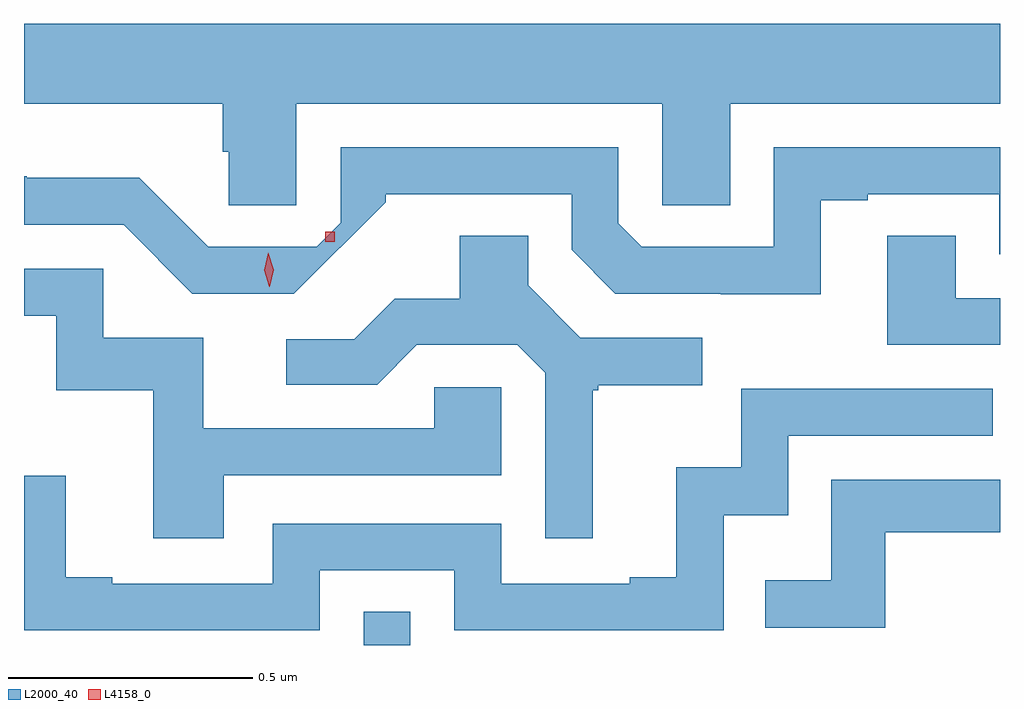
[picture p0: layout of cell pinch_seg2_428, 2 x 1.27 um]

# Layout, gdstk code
import gdstk
lib = gdstk.Library(unit=1e-6, precision=1e-09)
def R(c, l, rs):  # rectangles x0, y0, x1, y1
    for r in rs: c.add(gdstk.rectangle(r[:2], r[2:], *l))
def P(c, l, *ps):  # polygons
    for p in ps: c.add(gdstk.Polygon(p, *l))
L2000_40 = (2000, 40)
L4158_0 = (4158, 0)

pinch_seg2_428 = lib.new_cell('pinch_seg2_428')
R(pinch_seg2_428, L2000_40, [(1002,619.887,1002.096,619.955)])
P(pinch_seg2_428, L2000_40, [(1001.862,620.996),(1002.612,620.996),(1002.612,620.788),(1002.751,620.788),(1002.751,620.996),(1003.304,620.996),(1003.304,621.16),(1001.304,621.16),(1001.304,620.996),(1001.711,620.996),(1001.711,620.898),(1001.724,620.898),(1001.724,620.788),(1001.862,620.788)],
  [(1002.937,620.799),(1003.033,620.799),(1003.033,620.811),(1003.302,620.811),(1003.302,620.688),(1003.304,620.688),(1003.304,620.907),(1002.84,620.907),(1002.84,620.703),(1002.57,620.703),(1002.522,620.751),(1002.522,620.907),(1001.953,620.907),(1001.953,620.752),(1001.904,620.703),(1001.682,620.703),(1001.54,620.845),(1001.31,620.845),(1001.31,620.848),(1001.304,620.848),(1001.304,620.748),(1001.508,620.748),(1001.649,620.607),(1001.857,620.607),(1002.045,620.795),(1002.045,620.811),(1002.426,620.811),(1002.426,620.697),(1002.516,620.607),(1002.732,620.607),(1002.732,620.606),(1002.937,620.606)],
  [(1002.469,620.409),(1002.481,620.409),(1002.481,620.42),(1002.694,620.42),(1002.694,620.517),(1002.444,620.517),(1002.337,620.624),(1002.337,620.726),(1002.197,620.726),(1002.197,620.597),(1002.064,620.597),(1001.981,620.514),(1001.841,620.514),(1001.841,620.421),(1002.028,620.421),(1002.109,620.502),(1002.315,620.502),(1002.372,620.445),(1002.372,620.106),(1002.469,620.106)],
  [(1003.304,620.598),(1003.213,620.598),(1003.213,620.726),(1003.073,620.726),(1003.073,620.502),(1003.304,620.502)],
  [(1001.713,620.235),(1002.282,620.235),(1002.282,620.415),(1002.145,620.415),(1002.145,620.331),(1001.671,620.331),(1001.671,620.517),(1001.466,620.517),(1001.466,620.658),(1001.304,620.658),(1001.304,620.562),(1001.37,620.562),(1001.37,620.409),(1001.569,620.409),(1001.569,620.106),(1001.713,620.106)],
  [(1001.91,620.04),(1002.186,620.04),(1002.186,619.917),(1002.738,619.917),(1002.738,620.153),(1002.87,620.153),(1002.87,620.316),(1003.289,620.316),(1003.289,620.412),(1002.774,620.412),(1002.774,620.251),(1002.641,620.251),(1002.641,620.026),(1002.545,620.026),(1002.545,620.013),(1002.282,620.013),(1002.282,620.136),(1001.814,620.136),(1001.814,620.013),(1001.485,620.013),(1001.485,620.026),(1001.39,620.026),(1001.39,620.234),(1001.304,620.234),(1001.304,619.917),(1001.91,619.917)],
  [(1003.069,620.118),(1003.304,620.118),(1003.304,620.226),(1002.958,620.226),(1002.958,620.02),(1002.823,620.02),(1002.823,619.923),(1003.069,619.923)])
R(pinch_seg2_428, L4158_0, [(1001.921,620.714,1001.941,620.734)])
P(pinch_seg2_428, L4158_0, [(1001.807,620.621),(1001.807,620.621),(1001.796,620.655),(1001.804,620.691),(1001.804,620.691),(1001.804,620.691),(1001.816,620.656),(1001.808,620.621)])

lib.write_gds('pinch_seg2_428.gds')
